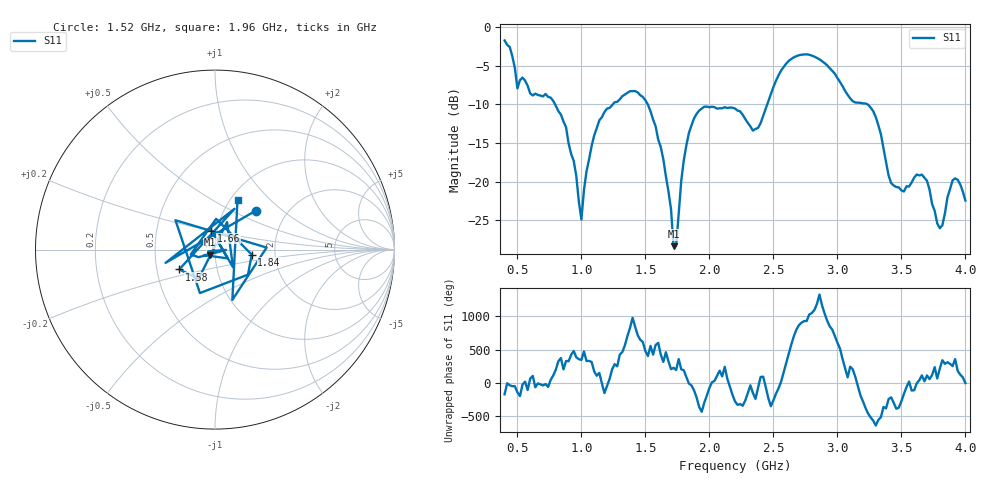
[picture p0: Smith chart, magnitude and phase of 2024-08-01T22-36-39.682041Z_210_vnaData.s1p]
!Created with skrf (http://scikit-rf.org).
# Hz S RI R 50.0
!freq ReS11 ImS11
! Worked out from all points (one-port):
!   181 points, 400 MHz to 4 GHz, reference 50 ohm
!   lowest |S11| = -28.4 dB at 1.72 GHz (marker M1), VSWR 1.08, Z = 47.4 - j2.65 ohm
!   |S11| at or under -10 dB: 794 MHz to 1.246 GHz (452.3 MHz wide, 44.3 % of centre); 1.518 GHz to 2.451 GHz (933.4 MHz wide, 47 % of centre); 3.233 GHz to end of sweep
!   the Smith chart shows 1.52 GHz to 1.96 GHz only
!   S11 on the Smith chart (normalised r, x): 1.52 GHz: 1.40, +0.67; 1.58 GHz: 0.65, -0.15; 1.66 GHz: 0.94, +0.20; 1.84 GHz: 1.51, -0.09; 1.96 GHz: 1.08, +0.66
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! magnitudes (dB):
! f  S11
! 400 MHz  -1.7
! 500 MHz  -7.9
! 760 MHz  -9.1
! 860 MHz  -12.2
! 940 MHz  -17.3
! 1 GHz  -24.9
! 1.1 GHz  -14.0
! 1.3 GHz  -9.4
! 1.52 GHz  -10.1
! 1.58 GHz  -12.9
! 1.66 GHz  -19.3
! 1.72 GHz  -28.4
! 1.74 GHz  -28.3
! 1.76 GHz  -24.2
! 1.84 GHz  -13.7
! 1.96 GHz  -10.3
! 2.2 GHz  -10.6
! 2.38 GHz  -13.1
! 2.66 GHz  -3.9
! 2.86 GHz  -4.2
! 3.1 GHz  -9.2
! 3.28 GHz  -10.9
! 3.42 GHz  -20.2
! 3.56 GHz  -20.6
! 3.7 GHz  -19.9
! 3.8 GHz  -26.0
! 3.9 GHz  -19.8
! 4 GHz  -22.5
